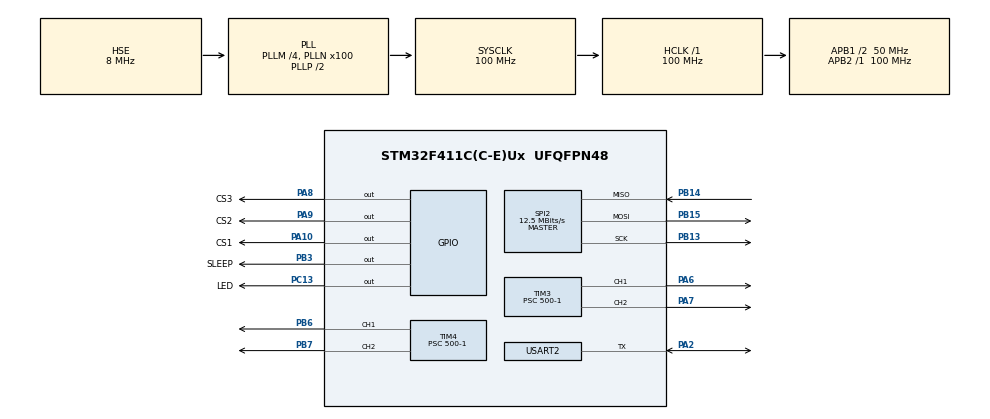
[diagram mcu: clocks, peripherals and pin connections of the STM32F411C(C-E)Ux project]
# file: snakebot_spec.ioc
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Mcu.Family=STM32F4
Mcu.Name=STM32F411C(C-E)Ux
Mcu.Package=UFQFPN48
NVIC.PriorityGroup=NVIC_PRIORITYGROUP_4
NVIC.TIM2_IRQn=true\:0\:0\:false\:false\:true\:true\:true\:true
NVIC.USART2_IRQn=true\:0\:0\:false\:false\:true\:true\:true\:true
PA10.GPIO_Label=CS1
PA10.Signal=GPIO_Output
PA13.Mode=Serial_Wire
PA13.Signal=SYS_JTMS-SWDIO
PA14.Mode=Serial_Wire
PA14.Signal=SYS_JTCK-SWCLK
PA2.Mode=Half_duplex(single_wire_mode)
PA2.Signal=USART2_TX
PA6.Signal=S_TIM3_CH1
PA7.Signal=S_TIM3_CH2
PA8.GPIO_Label=CS3
PA8.Signal=GPIO_Output
PA9.GPIO_Label=CS2
PA9.Signal=GPIO_Output
PB13.Mode=Full_Duplex_Master
PB13.Signal=SPI2_SCK
PB14.Mode=Full_Duplex_Master
PB14.Signal=SPI2_MISO
PB15.Mode=Full_Duplex_Master
PB15.Signal=SPI2_MOSI
PB3.GPIO_Label=SLEEP
PB3.GPIO_PuPd=GPIO_PULLUP
PB3.Signal=GPIO_Output
PB6.Signal=S_TIM4_CH1
PB7.Signal=S_TIM4_CH2
PC13-ANTI_TAMP.GPIO_Label=LED
PC13-ANTI_TAMP.Signal=GPIO_Output
PH0\ -\ OSC_IN.Mode=HSE-External-Clock-Source
PH0\ -\ OSC_IN.Signal=RCC_OSC_IN
PH1\ -\ OSC_OUT.Mode=HSE-External-Clock-Source
PH1\ -\ OSC_OUT.Signal=RCC_OSC_OUT
ProjectManager.HeapSize=0x800
ProjectManager.StackSize=0x800
ProjectManager.TargetToolchain=STM32CubeIDE
RCC.48MHZClocksFreq_Value=50000000
RCC.AHBFreq_Value=100000000
RCC.APB1CLKDivider=RCC_HCLK_DIV2
RCC.APB1Freq_Value=50000000
RCC.APB1TimFreq_Value=100000000
RCC.APB2Freq_Value=100000000
RCC.APB2TimFreq_Value=100000000
RCC.CortexFreq_Value=100000000
RCC.HCLKFreq_Value=100000000
RCC.HSE_VALUE=8000000
RCC.HSI_VALUE=16000000
RCC.LSE_VALUE=32768
RCC.PLLM=4
RCC.PLLN=100
RCC.PLLSourceVirtual=RCC_PLLSOURCE_HSE
RCC.SYSCLKFreq_VALUE=100000000
RCC.SYSCLKSource=RCC_SYSCLKSOURCE_PLLCLK
RCC.VCOOutputFreq_Value=200000000
SH.S_TIM3_CH1.0=TIM3_CH1,PWM Generation1 CH1
SH.S_TIM3_CH2.0=TIM3_CH2,PWM Generation2 CH2
SH.S_TIM4_CH1.0=TIM4_CH1,PWM Generation1 CH1
SH.S_TIM4_CH2.0=TIM4_CH2,PWM Generation2 CH2
SPI2.BaudRatePrescaler=SPI_BAUDRATEPRESCALER_4
SPI2.CLKPhase=SPI_PHASE_2EDGE
SPI2.CalculateBaudRate=12.5 MBits/s
SPI2.DataSize=SPI_DATASIZE_16BIT
SPI2.Direction=SPI_DIRECTION_2LINES
SPI2.Mode=SPI_MODE_MASTER
SPI2.VirtualType=VM_MASTER
TIM2.Period=10
TIM2.Prescaler=16
TIM2.TIM_MasterOutputTrigger=TIM_TRGO_UPDATE
TIM3.Channel-PWM\ Generation1\ CH1=TIM_CHANNEL_1
TIM3.Channel-PWM\ Generation2\ CH2=TIM_CHANNEL_2
TIM3.Period=100-1
TIM3.Prescaler=500-1
TIM3.Pulse-PWM\ Generation1\ CH1=0
TIM4.AutoReloadPreload=TIM_AUTORELOAD_PRELOAD_DISABLE
TIM4.Channel-PWM\ Generation1\ CH1=TIM_CHANNEL_1
TIM4.Channel-PWM\ Generation2\ CH2=TIM_CHANNEL_2
TIM4.Period=100-1
TIM4.Prescaler=500-1
TIM4.Pulse-PWM\ Generation1\ CH1=0
USART2.VirtualMode=VM_ASYNC
VP_CRC_VS_CRC.Mode=CRC_Activate
VP_TIM2_VS_ClockSourceINT.Mode=Internal
board=custom

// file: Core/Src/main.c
/* USER CODE BEGIN Header */
/**
  ******************************************************************************
  * @file           : main.c
  * @brief          : Main program body
  ******************************************************************************
  * @attention
  *
  * <h2><center>&copy; Copyright (c) 2024 STMicroelectronics.
  * All rights reserved.</center></h2>
  *
  * This software component is licensed by ST under BSD 3-Clause license,
  * the "License"; You may not use this file except in compliance with the
  * License. You may obtain a copy of the License at:
  *                        opensource.org/licenses/BSD-3-Clause
  *
  ******************************************************************************
  */
/* USER CODE END Header */
#include "main.h"
#include "crc.h"
#include "spi.h"
#include "tim.h"
#include "usart.h"
#include "gpio.h"

/* USER CODE BEGIN Includes */
#include "pid.h"
#include "printf.h"
#include "moving_average.h"
#include "tle5012b.h"
/* USER CODE END Includes */

/* USER CODE BEGIN PV */
uint8_t  str[] = {"init state                                                                                                                                           \r\n"};
int16_t  counter=0;
uint16_t pulse_width = 0;
uint8_t string[64];
int16_t revol1,revol2;
uint16_t angle_int;
float speed_,speed_2,rev_rp1,rev_rp2;
uint16_t speed_int;
float angle_;
float angle2;

double rev1=0.0,rev2=0.0;//-0.02*10;
PID_TypeDef motor_1_PID,motor_2_PID;
double measured_angle1, PIDOut1, angle_setpoint1,offset1;
double measured_angle2, PIDOut2, angle_setpoint2,offset2;
uint8_t Rx_data[10]={0,0,0,0,0,0,0,0,0,0};
static uint32_t seed = 1;
float filtered = 0.0;
FilterTypeDef mot1_filterStruct;
FilterTypeDef mot2_filterStruct;
float r_abs(float num);
// Linear Congruential Generator (LCG) parameters
#define LCG_A 1664525
#define LCG_C 1013904223
#define LCG_M 0xFFFFFFFF
#define init_angle_1 250 //40
#define init_angle_2 70 //70
/* USER CODE END PV */

void SystemClock_Config(void);
/* USER CODE BEGIN PFP */
void badpwm(float dutycycle);
void cw(int speed);
void ccw(int speed);
void srand(uint32_t s);
uint32_t rand(void);
float getRandomFloat(void);
void goto_angle1(double error);
void fast_oscillation1(int speed,float begin , float end);
void fast_oscillation2(int speed,float begin , float end);
/* USER CODE END PFP */

/* USER CODE BEGIN 0 */
#define freq 50
float rnd_val=0.0;
double abs_val;
int16_t dutycycle=80;
int16_t T_TOTAL=freq/10;
int16_t T_ON=0;
int16_t count=0;
int16_t pin=0;
int8_t osc_state=-1; //0 go to begin, 1 got end
//SPI_HandleTypeDef hspi2;
/* USER CODE END 0 */

int main(void)
{

  /* USER CODE BEGIN 1 */

	//tle5012_Rset();
	//tle5012_Calibrate0();
  /* USER CODE END 1 */

  /* MCU Configuration--------------------------------------------------------*/

  /* Reset of all peripherals, Initializes the Flash interface and the Systick. */
  HAL_Init();

  /* Configure the system clock */
  SystemClock_Config();

  /* USER CODE BEGIN SysInit */
  srand(HAL_GetTick());
  /* USER CODE END SysInit */

  /* Initialize all configured peripherals */
  MX_GPIO_Init();
  MX_TIM3_Init();
  MX_TIM4_Init();
  MX_SPI2_Init();
  MX_USART2_UART_Init();
  MX_TIM2_Init();
  MX_CRC_Init();
  /* USER CODE BEGIN 2 */
	HAL_TIM_Base_Start_IT(&htim2);
	//htim3.Instance->CCR1=50;
	HAL_TIM_PWM_Start(&htim3,TIM_CHANNEL_1);
	//htim4.Instance->CCR1=50;
	HAL_TIM_PWM_Start(&htim4,TIM_CHANNEL_1);
	HAL_TIM_PWM_Start(&htim3,TIM_CHANNEL_2);
	HAL_TIM_PWM_Start(&htim4,TIM_CHANNEL_2);
	//motor stuffs
	HAL_UART_Receive_IT (&huart2, Rx_data, 4);
	HAL_GPIO_WritePin(GPIOB,GPIO_PIN_3,GPIO_PIN_SET);
	HAL_GPIO_WritePin(LED_GPIO_Port,LED_Pin,GPIO_PIN_RESET);

	//HAL_GPIO_WritePin(GPIOA,GPIO_PIN_7,GPIO_PIN_RESET);
	//HAL_GPIO_WritePin(GPIOB,GPIO_PIN_7,GPIO_PIN_SET);
	//htim3.Instance->CCR1=50;
	//PID stuffs
	offset1=2.0/360;
	angle_setpoint1=180;
	angle_setpoint2=180;
	//PID(&motor_1_PID,&rev,&PIDOut,&angle_setpoint, 2, 8, 0, _PID_P_ON_E, _PID_CD_DIRECT); //kinda fast rev
	PID(&motor_1_PID,&rev1,&PIDOut1,&angle_setpoint1, 5.7000, 57.0000, 0.1425, _PID_P_ON_E, _PID_CD_DIRECT); // first angular
	PID_SetMode(&motor_1_PID, _PID_MODE_AUTOMATIC);
	PID_SetSampleTime(&motor_1_PID,4);
	PID_SetOutputLimits(&motor_1_PID, -100, 100);
	PID(&motor_2_PID,&rev2,&PIDOut2,&angle_setpoint2, 5.7000, 57.0000, 0.1425, _PID_P_ON_E, _PID_CD_DIRECT); // first angular
	PID_SetMode(&motor_2_PID, _PID_MODE_AUTOMATIC);
	PID_SetSampleTime(&motor_2_PID,4);
	PID_SetOutputLimits(&motor_2_PID, -100, 100);
	Moving_Average_Init(&mot1_filterStruct);
	Moving_Average_Init(&mot2_filterStruct);
	//set initial angle
	//cw(100);
	//HAL_Delay(500);
	//stop();
	HAL_UART_Transmit(&huart2, str, sizeof(str), 1000);
	//sprintf_min((char*)str,"test\n");//,angle2,revol2);
	HAL_UART_Transmit(&huart2,str,sizeof(str),0xff);
	tle5012_Rset();
	tle5012_Rset();
	tle5012_Rset();
	tle5012_Rset();
	read_sensors();
	read_sensors();
	read_sensors();
	read_sensors();
	read_sensors();
	read_sensors();
	//HAL_GPIO_WritePin(GPIOB,GPIO_PIN_3,GPIO_PIN_RESET);
	reset_motors();
	tle5012_Rset();
	HAL_Delay(3000);
	angle_setpoint1=init_angle_1;
	angle_setpoint2=init_angle_2;
	//goto_angle1(0.25);
	//goto_angle2(0.25);
	reset_motors();

	//tle5012_Calibrate0();
	//HAL_GPIO_WritePin(GPIOB,GPIO_PIN_3,GPIO_PIN_SET);

  /* USER CODE END 2 */

  /* Infinite loop */
  while (1)
  {

    /* USER CODE BEGIN 3 */
	  //HAL_UART_Transmit(&huart2,str,sizeof(str),1000);
	  //HAL_UART_Transmit(&huart2,str,sizeof(str),1000);
	  //HAL_UART_Transmit(&huart2, str, sizeof("Hello LGB!\r\n"), 1000);
	  //HAL_Delay(10);
	  //sprintf_min((char*)str,"1: %.2f,%d \n",angle_,revol);//,angle2,revol2);
	  //HAL_UART_Transmit(&huart2,str,sizeof(str),0xff);
	  //sprintf_min((char*)str,"test\n");//,angle2,revol2);
	  //HAL_UART_Transmit(&huart2,str,sizeof(str),0xff);

	  //HAL_UART_Transmit(&huart2, str, sizeof("Hello LGB!\r\n"), 1000);
	  //HAL_UART_Transmit(&huart2, str, sizeof("Hello LGB!\r\n"), 1000);
	  //HAL_UART_Transmit(&huart2, str, sizeof("Hello LGB!\r\n"), 1000);

	  //cw(50);
	  //HAL_Delay(3000);

	  //HAL_GPIO_WritePin(GPIOB,GPIO_PIN_3,GPIO_PIN_RESET);
	  //stop();
	  //HAL_Delay(500);
	  //HAL_GPIO_WritePin(GPIOB,GPIO_PIN_3,GPIO_PIN_SET);
	  //ccw(50);
	  //HAL_Delay(5000);
	  //HAL_Delay(500);

	  	  	//angle_setpoint=90;
	  	  	//goto_angle(0.5);
	  	  	//angle_setpoint2=10;
	  	  	//goto_angle2(0.5);
	  	  	//ccw2(100);
	  	  	//stop2();
	  	  	//fast_oscillation2(50,-180,180);
	  	  	/*angle_setpoint=360;
	  	  	goto_angle(0.5);
	  	  	angle_setpoint=0;
	  	  	goto_angle(0.5);
	  	  	angle_setpoint=5.25*360;
	  	  	goto_angle(0.5);
	  	  	angle_setpoint=-5.25*360;
	  	  	goto_angle(0.5);
	  	  	angle_setpoint=0;
	  	  	goto_angle(0.5);*/

	  		/*if (abs_val<1)
	  		{
	  			angle_setpoint=getRandomFloat()*360;
	  			//HAL_Delay(500);

	  		}*/
	  		//=generate_random_float();	  		//HAL_Delay(10);
	  	  	/*
	  		//speed_ = tle5012_ReadSpeed();
	  		//speed_int=(int)speed_*10;
	  		PID_Compute(&motor_1_PID);
	  		//htim3.Instance->CCR1=(int)d_abs(PIDOut);
	  		//PIDOut=100.0;
	  		//PIDOut=-100.0;
	  		if (PIDOut>100.0)
	  		{
	  			PIDOut=100.0;
	  		}
	  		if (PIDOut<-100.0)
	  		{
	  			PIDOut=-100.0;
	  		}
	  		if (PIDOut<0)
	  		{
	  			ccw((int)PIDOut);
	  		}
	  		if	 (PIDOut>0) {
	  			cw((int)PIDOut);
	  		}
	  		if (abs_val<=0.5)
	  		{
	  			stop();
	  			//angle_setpoint=rev;
	  		}*/

	  		//sprintf_min((char*)string,"rx: %d%d%d%d%d%d \r\n",Rx_data[0],Rx_data[1],Rx_data[2],Rx_data[3],Rx_data[4],Rx_data[5]);
	  		//HAL_UART_Transmit(&huart2,string,sizeof(string),0xff);
	  		//sprintf_min((char*)string,"1: %.2f,%d,%.2f  2: %.2f,%d \r\n",angle_,revol,PIDOut,angle2,revol2);
	  read_sensors();
	  goto_angle1(0.5);
	  print_debug();
	  //ccw1(50);
	  		//sprintf_min((char*)str,">target:%.3f\n",angle_setpoint);
	  		//HAL_UART_Transmit(&huart2,str,sizeof(str),0xff);

	  		//HAL_Delay(10);
	  		//HAL_UART_Transmit(&huart2,str,sizeof(str),1000);
//	  		num++;
//
//	  		if(num>50)
//	  		{
//	  			num = 0;
//	  			//tle5012_Rset();
//	  		    //tle5012_Calibrate0();
//	  		}
		//HAL_Delay(500);
		//HAL_GPIO_TogglePin(LED_GPIO_Port, LED_Pin);

		/*if (counter==0)
		{
			counter=1;
		}
		else
		{
			counter=0;
		}*/
		/*
			T_ON=((dutycycle*T_TOTAL)*10/100);
			htim2.Instance->ARR=100;
		for(int i=0;i<20;i++){
			dutycycle=i;
			HAL_Delay(100);
		}
		for(int i=20;i>0;i--){
			dutycycle=i;
			HAL_Delay(100);
		}*/
		//HAL_GPIO_WritePin(LED_GPIO_Port,LED_Pin,GPIO_PIN_RESET);
		 //set to enable

		//CLOCKWISE
		//HAL_Delay(500);

		/*
		HAL_GPIO_WritePin(GPIOA,GPIO_PIN_7,GPIO_PIN_SET);
		htim3.Instance->CCR1=0;
		HAL_GPIO_WritePin(GPIOB,GPIO_PIN_7,GPIO_PIN_SET);
		htim4.Instance->CCR1=0;
		HAL_Delay(1000);

		//HAL_Delay(500);

		HAL_GPIO_WritePin(GPIOA,GPIO_PIN_7,GPIO_PIN_RESET);
		htim3.Instance->CCR1=100;                                                       ;
		HAL_GPIO_WritePin(GPIOB,GPIO_PIN_7,GPIO_PIN_RESET);
		htim4.Instance->CCR1=100;                                                       ;
		HAL_Delay(1000);
		)*/

	}
  /* USER CODE END 3 */
}

void SystemClock_Config(void)
{
  RCC_OscInitTypeDef RCC_OscInitStruct = {0};
  RCC_ClkInitTypeDef RCC_ClkInitStruct = {0};

  /** Configure the main internal regulator output voltage
  */
  __HAL_RCC_PWR_CLK_ENABLE();
  __HAL_PWR_VOLTAGESCALING_CONFIG(PWR_REGULATOR_VOLTAGE_SCALE1);

  /** Initializes the RCC Oscillators according to the specified parameters
  * in the RCC_OscInitTypeDef structure.
  */
  RCC_OscInitStruct.OscillatorType = RCC_OSCILLATORTYPE_HSE;
  RCC_OscInitStruct.HSEState = RCC_HSE_BYPASS;
  RCC_OscInitStruct.PLL.PLLState = RCC_PLL_ON;
  RCC_OscInitStruct.PLL.PLLSource = RCC_PLLSOURCE_HSE;
  RCC_OscInitStruct.PLL.PLLM = 4;
  RCC_OscInitStruct.PLL.PLLN = 100;
  RCC_OscInitStruct.PLL.PLLP = RCC_PLLP_DIV2;
  RCC_OscInitStruct.PLL.PLLQ = 4;
  if (HAL_RCC_OscConfig(&RCC_OscInitStruct) != HAL_OK)
  {
    Error_Handler();
  }

  /** Initializes the CPU, AHB and APB buses clocks
  */
  RCC_ClkInitStruct.ClockType = RCC_CLOCKTYPE_HCLK|RCC_CLOCKTYPE_SYSCLK
                              |RCC_CLOCKTYPE_PCLK1|RCC_CLOCKTYPE_PCLK2;
  RCC_ClkInitStruct.SYSCLKSource = RCC_SYSCLKSOURCE_PLLCLK;
  RCC_ClkInitStruct.AHBCLKDivider = RCC_SYSCLK_DIV1;
  RCC_ClkInitStruct.APB1CLKDivider = RCC_HCLK_DIV2;
  RCC_ClkInitStruct.APB2CLKDivider = RCC_HCLK_DIV1;

  if (HAL_RCC_ClockConfig(&RCC_ClkInitStruct, FLASH_LATENCY_3) != HAL_OK)
  {
    Error_Handler();
  }
}

/* USER CODE BEGIN 4 */
void cw2(int speed)
{
	speed=i_abs(speed);
	//HAL_GPIO_WritePin(GPIOB,GPIO_PIN_3,GPIO_PIN_SET);
	//HAL_GPIO_WritePin(GPSIOA,GPIO_PIN_7,GPIO_PIN_SET);
	htim3.Instance->CCR1=speed;
	htim3.Instance->CCR2=0;

	//HAL_GPIO_WritePin(GPIOB,GPIO_PIN_7,GPIO_PIN_RESET);
	//htim4.Instance->CCR1=0;
	//htim4.Instance->CCR2=speed;
}

void ccw1(int speed)
{
	speed=i_abs(speed);
	//HAL_GPIO_WritePin(GPIOB,GPIO_PIN_7,GPIO_PIN_RESET);
	htim4.Instance->CCR1=0;
	htim4.Instance->CCR2=speed;
}

void ccw2(int speed)
{
	speed=i_abs(speed);
	//HAL_GPIO_WritePin(GPIOB,GPIO_PIN_3,GPIO_PIN_SET);
	//HAL_GPIO_WritePin(GPIOA,GPIO_PIN_7,GPIO_PIN_SET);
	htim3.Instance->CCR1=0;
	htim3.Instance->CCR2=speed;

	//HAL_GPIO_WritePin(GPIOB,GPIO_PIN_7,GPIO_PIN_RESET);
	//htim4.Instance->CCR1=speed;
	//htim4.Instance->CCR2=0;

}

void cw1(int speed)
{
	speed=i_abs(speed);
	//HAL_GPIO_WritePin(GPIOB,GPIO_PIN_7,GPIO_PIN_RESET);
	htim4.Instance->CCR1=speed;
	htim4.Instance->CCR2=0;

}

void stop2()
{
	htim3.Instance->CCR1=100;
	htim3.Instance->CCR2=100;
	//htim4.Instance->CCR1=0;
}

void stop1()
{
	htim4.Instance->CCR1=100;
	htim4.Instance->CCR2=100;
	//htim4.Instance->CCR1=0;
}
void reset_motors()
{
	htim3.Instance->CCR1=0;
	htim3.Instance->CCR2=0;
	htim4.Instance->CCR1=0;
	htim4.Instance->CCR2=0;
}

void goto_angle1(double error)
{
	read_sensors();
	abs_val=r_abs(rev1-angle_setpoint1);
	while (abs_val>error)
	{
		read_sensors();
		abs_val=r_abs(rev1-angle_setpoint1);
		PID_Compute(&motor_1_PID);
		if (PIDOut1>100.0)
		{
		PIDOut1=100.0;
		}
		if (PIDOut1<-100.0)
		{
		PIDOut1=-100.0;
		}
		if (PIDOut1<0)
		{
		ccw1((int)PIDOut1);
		}
		if (PIDOut1>0) {
		cw1((int)PIDOut1);
		}
		if (abs_val<=error)
		{
			stop1();
			  			//angle_setpoint=rev;
		}
		//sprintf_min((char*)str,"%.2f,%.3f,%.5f,%d,%.2f,%.3f,%.3f\r\n",angle_,rev,angle2,rev2,PIDOut,angle_setpoint,angle_setpoint2,r_abs(rev-angle_setpoint));
		//HAL_UART_Transmit(&huart2,str,sizeof(str),0xff);
	}
	stop1();

}

void goto_angle2(double error)
{

	read_sensors();
	abs_val=r_abs(rev1-angle_setpoint2);
	while (abs_val>error)
	{
		read_sensors();
		abs_val=r_abs(rev1-angle_setpoint2);
		PID_Compute(&motor_2_PID);
		if (PIDOut2>100.0)
		{
		PIDOut2=100.0;
		}
		if (PIDOut2<-100.0)
		{
		PIDOut2=-100.0;
		}
		if (PIDOut2<0)
		{
		cw2((int)PIDOut2);
		}
		if (PIDOut2>0) {
		ccw2((int)PIDOut2);
		}
		if (abs_val<=error)
		{
			stop2();
			  			//angle_setpoint=rev;
		}
		//sprintf_min((char*)str,"%.2f,%.3f,%.5f,%d,%.2f,%.3f,%.3f\r\n",angle_,rev,rev_rp,revol,PIDOut,angle_setpoint,r_abs(rev-angle_setpoint));
		//HAL_UART_Transmit(&huart2,str,sizeof(str),0xff);
	}
	stop2();

}

float r_abs(float num)
{
	if (num<0.0)
		{
			num=-num;
		}
	return num;
}
void print_debug()
{

	sprintf_min((char*)str,"%.2f,%.2f,%.3f,%.3f,%.5f,%.5f,%d,%d,%.2f,%.2f,%.2f,%.2f,%d \r\n",angle_,angle2,rev1,rev2,rev_rp1,rev_rp2,revol1,revol2,PIDOut1,PIDOut2,angle_setpoint1,angle_setpoint2,osc_state);//r_abs(rev1-angle_setpoint1));
	HAL_UART_Transmit(&huart2,str,sizeof(str),0xff);
}
void read_sensors()
{
	angle_ = tle5012_ReadAngle();//Moving_Average_Compute(,&mot1_filterStruct);
	tle5012_ReadAngle2(&angle2);
	//angle2=Moving_Average_Compute(angle2,&mot2_filterStruct);
	revol1 = tle5012_ReadRevol(0);
	revol2 = tle5012_ReadRevol2(0);
	rev1=(revol1+(angle_/360))*360;
	rev2=(revol2+(angle2/360))*360;
	rev_rp1=(revol1+(angle_/360));
	rev_rp2=(revol2+(angle2/360));
	print_debug();
}

void fast_oscillation1(int speed,float begin , float end)
{
	if (osc_state==-1)
	{
		angle_setpoint1=0;
		goto_angle1(0.5);
		osc_state=0;
	}
	if (osc_state==0) //go to begin always ccw cause of state -1
	{
		angle_setpoint1=begin;
		read_sensors();
		if (rev1<begin)
		{
			stop1();
			osc_state=1;
			return;
		}
		else
		{
			ccw1(speed);
			PIDOut1=-speed;
			return;
		}
	}
	if (osc_state==1) //go to end
	{
		angle_setpoint1=end;
		read_sensors();
		if (rev1>end)
			{
				stop1();
				osc_state=0;
				return;
				}
				else
				{
					cw1(speed);
					PIDOut1=speed;
					return;
				}
	}

}

void fast_oscillation2(int speed,float begin , float end)
{
	//begin=-180.0;
	if (osc_state==-1)
	{
		angle_setpoint2=0;
		angle_setpoint1=0;
		goto_angle2(0.5);
		osc_state=0;
		return;
	}
	if (osc_state==0) //go to begin always ccw cause of state -1
	{
		angle_setpoint1=begin;
		read_sensors();
		if (rev2<begin)
		{
			stop2();
			osc_state=1;
			return;
		}
		else
		{
			ccw2(speed);
			PIDOut2=-speed;
			return;
		}
	}
	if (osc_state==1) //go to end
	{
		angle_setpoint1=end;
		read_sensors();
		if (rev2>end)
			{
				stop2();
				osc_state=0;
				return;
				}
				else
				{
					cw2(speed);
					PIDOut2=speed;
					return;
				}
	}

}

void srand(uint32_t s) {
    seed = s;
}

uint32_t rand(void) {
    seed = (LCG_A * seed + LCG_C) & LCG_M;
    return seed;
}

float getRandomFloat(void) {
    uint32_t randomValue = rand();
    // Scale the random number to the range -5 to 5
    float randomFloat = ((float)randomValue / (float)LCG_M) * 10.0f - 5.0f;
    return randomFloat;
}

/*
void HAL_UART_RxCpltCallback(UART_HandleTypeDef *huart)
{

  //check 2 numbers
  if (Rx_data[3]-'0'==0)
  {
	  angle_setpoint=(double)(Rx_data[0]-'0')*10+(Rx_data[1]-'0')+offset;
  }
  //check 3 numbers
  else if (Rx_data[3]-'0'==1)
    {
  	  angle_setpoint=(double)(Rx_data[0]-'0')*100+(Rx_data[1]-'0')*10+(Rx_data[2]-'0')+offset;
    }
    //angle_setpoint=d_abs(angle_setpoint);

    sprintf_min((char*)string,"rx: %c %c %c %c %c %c - %.2f\r\n",Rx_data[0],Rx_data[1],Rx_data[2],Rx_data[3],Rx_data[4],Rx_data[5],angle_setpoint);
    HAL_UART_Transmit(&huart2,string,sizeof(string),0xff);
    HAL_UART_Receive_IT(&huart2, Rx_data, 4);

}*/
/*
void HAL_TIM_PeriodElapsedCallback(TIM_HandleTypeDef *htim) {
  if (htim->Instance == TIM2) {
    static uint8_t fade_direction = 1; // 1: Fade in, 0: Fade out

    if (fade_direction) {
      pulse_width += 10; // Increase pulse width for fade in effect
      if (pulse_width >= 100) {
        fade_direction = 0; // Change direction to fade out
      }
    } else {
      pulse_width -= 10; // Decrease pulse width for fade out effect
      if (pulse_width <= 0) {
        fade_direction = 1; // Change direction to fade in
      }
    }

    __HAL_TIM_SET_COMPARE(&htim2, TIM_CHANNEL_1, pulse_width);
  }
}*/

void badpwm(float dutycycle)
{
		int t_on=(int)20.0*(dutycycle/100.0);
		HAL_GPIO_WritePin(LED_GPIO_Port,LED_Pin,GPIO_PIN_RESET);
		pin=1;
		HAL_Delay(t_on);
		HAL_GPIO_WritePin(LED_GPIO_Port,LED_Pin,GPIO_PIN_SET);
		pin=0;
		HAL_Delay(20-t_on);
}

/* USER CODE END 4 */

void Error_Handler(void)
{
  /* USER CODE BEGIN Error_Handler_Debug */
  /* User can add his own implementation to report the HAL error return state */
  __disable_irq();
  while (1)
  {
	  HAL_Delay(10);
	  HAL_UART_Transmit(&huart2,str,sizeof(str),1000);
  }
  /* USER CODE END Error_Handler_Debug */
}
